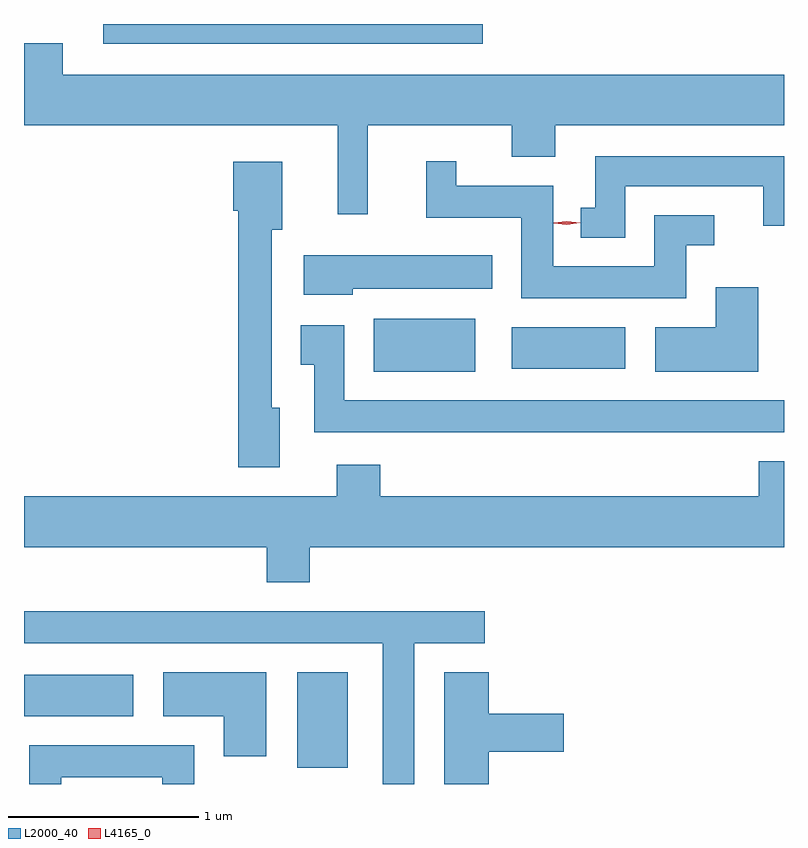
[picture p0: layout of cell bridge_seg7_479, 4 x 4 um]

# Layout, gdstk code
import gdstk
lib = gdstk.Library(unit=1e-6, precision=1e-09)
def R(c, l, rs):  # rectangles x0, y0, x1, y1
    for r in rs: c.add(gdstk.rectangle(r[:2], r[2:], *l))
def P(c, l, *ps):  # polygons
    for p in ps: c.add(gdstk.Polygon(p, *l))
L2000_40 = (2000, 40)
L4165_0 = (4165, 0)

bridge_seg7_479 = lib.new_cell('bridge_seg7_479')
R(bridge_seg7_479, L2000_40, [(1449.921,1724.256,1450.189,1724.759), (1448.484,1724.526,1449.059,1724.744), (1450.326,1726.341,1450.859,1726.619), (1451.051,1726.356,1451.649,1726.574), (1448.901,1728.066,1450.899,1728.17)])
P(bridge_seg7_479, L2000_40, [(1450.294,1727.636),(1451.051,1727.636),(1451.051,1727.471),(1451.279,1727.471),(1451.279,1727.636),(1452.484,1727.636),(1452.484,1727.904),(1448.689,1727.904),(1448.689,1728.069),(1448.484,1728.069),(1448.484,1727.636),(1450.136,1727.636),(1450.136,1727.168),(1450.294,1727.168)],
  [(1451.649,1727.316),(1452.376,1727.316),(1452.376,1727.108),(1452.484,1727.108),(1452.484,1727.474),(1451.491,1727.474),(1451.491,1727.204),(1451.413,1727.204),(1451.413,1727.046),(1451.649,1727.046)],
  [(1451.969,1727.006),(1452.118,1727.006),(1452.118,1727.164),(1451.801,1727.164),(1451.801,1726.894),(1451.269,1726.894),(1451.269,1727.319),(1450.759,1727.319),(1450.759,1727.448),(1450.601,1727.448),(1450.601,1727.151),(1451.101,1727.151),(1451.101,1726.726),(1451.969,1726.726)],
  [(1449.829,1726.149),(1449.789,1726.149),(1449.789,1727.086),(1449.844,1727.086),(1449.844,1727.444),(1449.586,1727.444),(1449.586,1727.186),(1449.611,1727.186),(1449.611,1725.836),(1449.829,1725.836)],
  [(1450.214,1726.776),(1450.949,1726.776),(1450.949,1726.954),(1449.956,1726.954),(1449.956,1726.746),(1450.214,1726.746)],
  [(1452.349,1726.784),(1452.126,1726.784),(1452.126,1726.574),(1451.806,1726.574),(1451.806,1726.341),(1452.349,1726.341)],
  [(1452.484,1726.189),(1450.169,1726.189),(1450.169,1726.584),(1449.941,1726.584),(1449.941,1726.376),(1450.011,1726.376),(1450.011,1726.021),(1452.484,1726.021)],
  [(1449.989,1725.416),(1452.484,1725.416),(1452.484,1725.869),(1452.351,1725.869),(1452.351,1725.684),(1450.359,1725.684),(1450.359,1725.849),(1450.131,1725.849),(1450.131,1725.684),(1448.484,1725.684),(1448.484,1725.416),(1449.761,1725.416),(1449.761,1725.231),(1449.989,1725.231)],
  [(1450.539,1724.911),(1450.908,1724.911),(1450.908,1725.079),(1448.484,1725.079),(1448.484,1724.911),(1450.371,1724.911),(1450.371,1724.17),(1450.539,1724.17)],
  [(1449.759,1724.759),(1449.216,1724.759),(1449.216,1724.526),(1449.536,1724.526),(1449.536,1724.316),(1449.759,1724.316)],
  [(1450.929,1724.341),(1451.324,1724.341),(1451.324,1724.539),(1450.929,1724.539),(1450.929,1724.759),(1450.696,1724.759),(1450.696,1724.17),(1450.929,1724.17)],
  [(1448.679,1724.206),(1449.211,1724.206),(1449.211,1724.17),(1449.379,1724.17),(1449.379,1724.374),(1448.511,1724.374),(1448.511,1724.17),(1448.679,1724.17)])
P(bridge_seg7_479, L4165_0, [(1451.341,1727.113),(1451.272,1727.122),(1451.272,1727.123),(1451.272,1727.124),(1451.341,1727.133),(1451.411,1727.124),(1451.411,1727.124),(1451.411,1727.123)])

lib.write_gds('bridge_seg7_479.gds')
